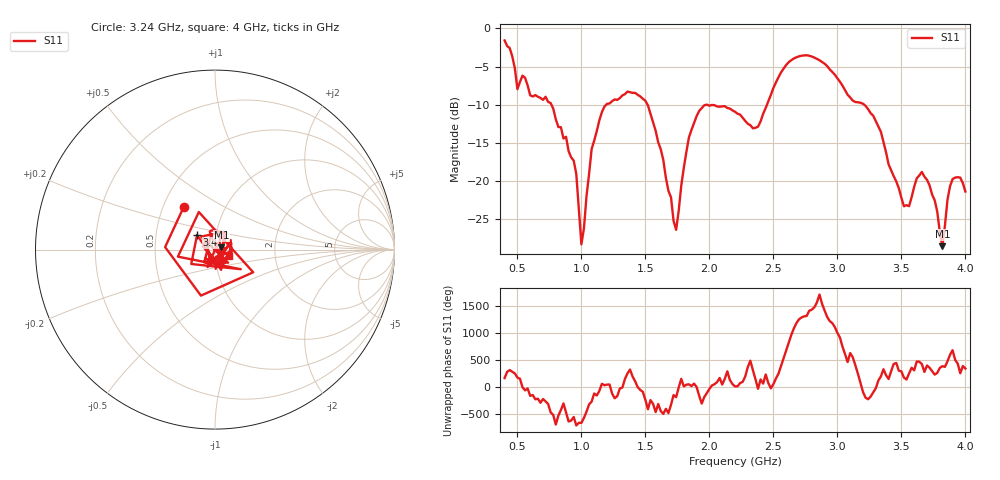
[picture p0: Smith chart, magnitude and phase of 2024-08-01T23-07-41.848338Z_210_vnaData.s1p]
!Created with skrf (http://scikit-rf.org).
# Hz S RI R 50.0
!freq ReS11 ImS11
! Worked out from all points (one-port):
!   181 points, 400 MHz to 4 GHz, reference 50 ohm
!   lowest |S11| = -28.5 dB at 3.82 GHz (marker M1), VSWR 1.08, Z = 53.7 + j1.31 ohm
!   |S11| at or under -10 dB: 1.517 GHz to 1.975 GHz (458.3 MHz wide, 26.2 % of centre); 1.983 GHz to 2.45 GHz (466.8 MHz wide, 21.1 % of centre); 3.21 GHz to end of sweep (the widest 3 of 4)
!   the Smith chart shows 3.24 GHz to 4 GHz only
!   S11 on the Smith chart (normalised r, x): 3.24 GHz: 0.64, +0.33; 3.4 GHz: 0.81, +0.13; 4 GHz: 1.17, -0.08
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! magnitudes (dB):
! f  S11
! 400 MHz  -1.6
! 500 MHz  -8.0
! 540 MHz  -6.2
! 720 MHz  -9.0
! 860 MHz  -14.4
! 960 MHz  -19.0
! 1 GHz  -28.2
! 1.08 GHz  -15.8
! 1.18 GHz  -10.2
! 1.3 GHz  -9.1
! 1.52 GHz  -10.1
! 1.74 GHz  -26.3
! 1.76 GHz  -23.9
! 1.84 GHz  -14.3
! 1.92 GHz  -10.8
! 2.2 GHz  -10.9
! 2.38 GHz  -12.9
! 2.66 GHz  -3.9
! 2.9 GHz  -4.6
! 3.1 GHz  -9.1
! 3.24 GHz  -10.6
! 3.4 GHz  -17.8
! 3.56 GHz  -23.3
! 3.66 GHz  -18.8
! 3.76 GHz  -22.5
! 3.82 GHz  -28.5
! 3.9 GHz  -19.7
! 4 GHz  -21.3
